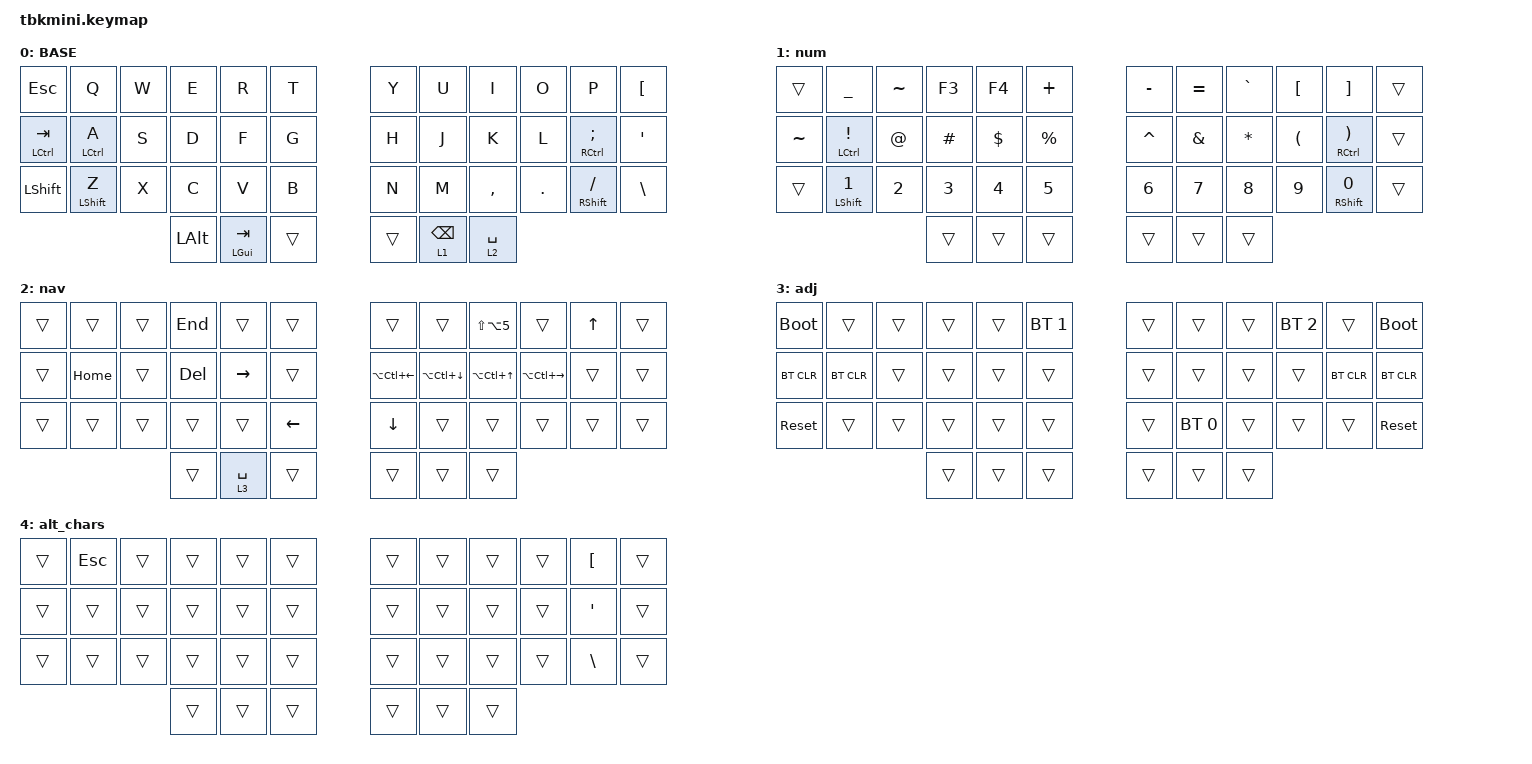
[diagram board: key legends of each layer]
#include <behaviors.dtsi>
#include <dt-bindings/zmk/bt.h>
#include <dt-bindings/zmk/keys.h>

#define BASE 0

&mt {
    quick-tap-ms = <100>;
    global-quick-tap;
    flavor = "tap-preferred";
    tapping-term-ms = <220>;
};

/ {
    combos {
        compatible = "zmk,combos";

        combo_esc {
            timeout-ms = <50>;
            key-positions = <1 2>;
            bindings = <&kp ESC>;
        };

        h {
            bindings = <&kp LEFT_BRACKET>;
            key-positions = <9 10>;
        };

        quote {
            bindings = <&kp SINGLE_QUOTE>;
            key-positions = <21 22>;
        };

        backslash {
            bindings = <&kp BACKSLASH>;
            key-positions = <33 34>;
        };

        tab {
            bindings = <&kp TAB>;
            key-positions = <14 15>;
        };

        enter {
            bindings = <&kp ENTER>;
            key-positions = <21 20>;
        };
    };

    macros {
        gif: gif {
            label = "giphy";
            compatible = "zmk,behavior-macro";
            #binding-cells = <0>;
            bindings =
                <&macro_press>,
                <&kp LSHFT>,
                <&macro_tap>,
                <&kp N2>,
                <&macro_release>,
                <&kp LSHFT>,
                <&macro_tap>,
                <&kp G &kp I &kp F>;
        };
    };

    keymap {
        compatible = "zmk,keymap";

        base_layer {
            label = "BASE";
            bindings = <
&kp ESC         &kp Q             &kp W  &kp E         &kp R             &kp T   &kp Y   &kp U            &kp I        &kp O    &kp P                  &kp LBKT
&mt LCTRL TAB   &mt LCTRL A       &kp S  &kp D         &kp F             &kp G   &kp H   &kp J            &kp K        &kp L    &mt RCTRL SEMI         &kp APOS
&kp LEFT_SHIFT  &mt LEFT_SHIFT Z  &kp X  &kp C         &kp V             &kp B   &kp N   &kp M            &kp COMMA    &kp DOT  &mt RIGHT_SHIFT SLASH  &kp BSLH
                                         &kp LEFT_ALT  &mt LEFT_GUI TAB  &trans  &trans  &lt 1 BACKSPACE  &lt 2 SPACE
            >;
        };

        num {
            bindings = <
&trans     &kp UNDER          &kp TILDE  &kp F3    &kp F4      &kp PLUS     &kp MINUS  &kp EQUAL  &kp GRAVE  &kp LBKT              &kp RBKT                     &trans
&kp TILDE  &mt LCTRL EXCL     &kp AT     &kp HASH  &kp DOLLAR  &kp PERCENT  &kp CARET  &kp AMPS   &kp STAR   &kp LEFT_PARENTHESIS  &mt RCTRL RIGHT_PARENTHESIS  &trans
&trans     &mt LEFT_SHIFT N1  &kp N2     &kp N3    &kp N4      &kp N5       &kp N6     &kp N7     &kp N8     &kp N9                &mt RIGHT_SHIFT N0           &trans
                                         &trans    &trans      &trans       &trans     &trans     &trans
            >;
        };

        nav {
            bindings = <
&trans  &trans    &trans  &kp END     &trans       &trans    &trans            &trans            &kp LS(LA(N5))  &trans             &kp UP  &trans
&trans  &kp HOME  &trans  &kp DELETE  &kp RIGHT    &trans    &kp LA(LC(LEFT))  &kp LA(LC(DOWN))  &kp LA(LC(UP))  &kp LA(LC(RIGHT))  &trans  &trans
&trans  &trans    &trans  &trans      &trans       &kp LEFT  &kp DOWN          &trans            &trans          &trans             &trans  &trans
                          &trans      &lt 3 SPACE  &trans    &trans            &trans            &trans
            >;
        };

        adj {
            bindings = <
&bootloader  &trans      &trans  &trans  &trans  &bt BT_SEL 1  &trans  &trans        &trans  &bt BT_SEL 2  &trans      &bootloader
&bt BT_CLR   &bt BT_CLR  &trans  &trans  &trans  &trans        &trans  &trans        &trans  &trans        &bt BT_CLR  &bt BT_CLR
&sys_reset   &trans      &trans  &trans  &trans  &trans        &trans  &bt BT_SEL 0  &trans  &trans        &trans      &sys_reset
                                 &trans  &trans  &trans        &trans  &trans        &trans
            >;
        };

        alt_chars {
            bindings = <
&trans  &kp ESC  &trans  &trans  &trans  &trans  &trans  &trans  &trans  &trans  &kp LEFT_BRACKET  &trans
&trans  &trans   &trans  &trans  &trans  &trans  &trans  &trans  &trans  &trans  &kp SQT           &trans
&trans  &trans   &trans  &trans  &trans  &trans  &trans  &trans  &trans  &trans  &kp BACKSLASH     &trans
                         &trans  &trans  &trans  &trans  &trans  &trans
            >;
        };
    };
};
